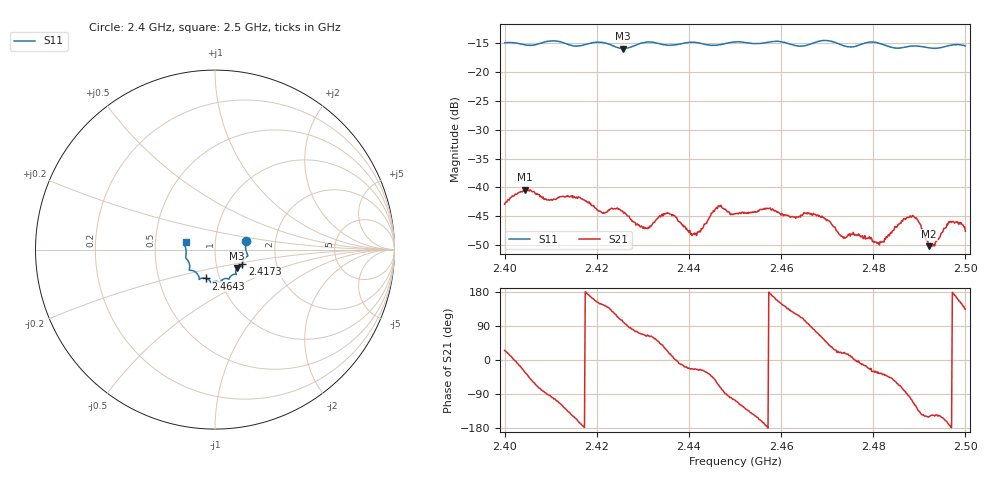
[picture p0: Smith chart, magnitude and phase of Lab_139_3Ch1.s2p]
# Hz S RI R 50
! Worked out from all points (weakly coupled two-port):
!   601 points, 2.4 GHz to 2.5 GHz, reference 50 ohm
!   highest |S21| = -40.43 dB at 2.4043 GHz (marker M1); lowest = -50.2 dB at 2.4922 GHz (marker M2)
!   lowest |S11| = -15.9 dB at 2.4257 GHz (marker M3), VSWR 1.38, Z = 62.5 - j13.1 ohm
!   |S11| at or under -10 dB: start of sweep to end of sweep
!   S12 and S22 are empty: the file has one direction only
!   S11 on the Smith chart (normalised r, x): 2.4 GHz: 1.41, +0.14; 2.4173 GHz: 1.34, -0.23; 2.4643 GHz: 0.86, -0.28; 2.5 GHz: 0.72, +0.06
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2.4e9  0.173 0.0492  0.00645 0.00304  0 0  0 0
2.404333e9  0.1713 0.0218  0.0081 -0.00499  0 0  0 0
2.416667e9  0.1527 -0.0751  -0.00782 -0.00131  0 0  0 0
2.417333e9  0.1519 -0.0824  -0.00774 -0.000271  0 0  0 0
2.421167e9  0.1537 -0.0962  -0.00502 0.00333  0 0  0 0
2.425667e9  0.1228 -0.1025  -0.00113 0.00605  0 0  0 0
2.4305e9  0.1185 -0.1375  0.00186 0.00407  0 0  0 0
2.433333e9  0.1128 -0.1372  0.00352 0.00412  0 0  0 0
2.436333e9  0.0917 -0.145  0.00557 0.001  0 0  0 0
2.441167e9  0.0768 -0.1646  0.00364 -0.00166  0 0  0 0
2.4465e9  0.0437 -0.1665  0.00272 -0.0063  0 0  0 0
2.45e9  0.0295 -0.1806  -0.00163 -0.00567  0 0  0 0
2.457167e9  -0.0153 -0.1812  -0.00656 -1.77e-05  0 0  0 0
2.464333e9  -0.05 -0.1605  -0.00219 0.00532  0 0  0 0
2.466667e9  -0.0759 -0.1596  0.000361 0.00575  0 0  0 0
2.4735e9  -0.0943 -0.1414  0.00344 0.00114  0 0  0 0
2.481333e9  -0.1421 -0.1072  0.0026 -0.0018  0 0  0 0
2.483333e9  -0.1411 -0.0895  0.00278 -0.00272  0 0  0 0
2.4885e9  -0.1617 -0.0481  -0.00186 -0.00538  0 0  0 0
2.492167e9  -0.1609 -0.0234  -0.00265 -0.00158  0 0  0 0
2.496833e9  -0.1694 0.0256  -0.00504 -0.000204  0 0  0 0
2.5e9  -0.1637 0.0424  -0.0029 0.00298  0 0  0 0
